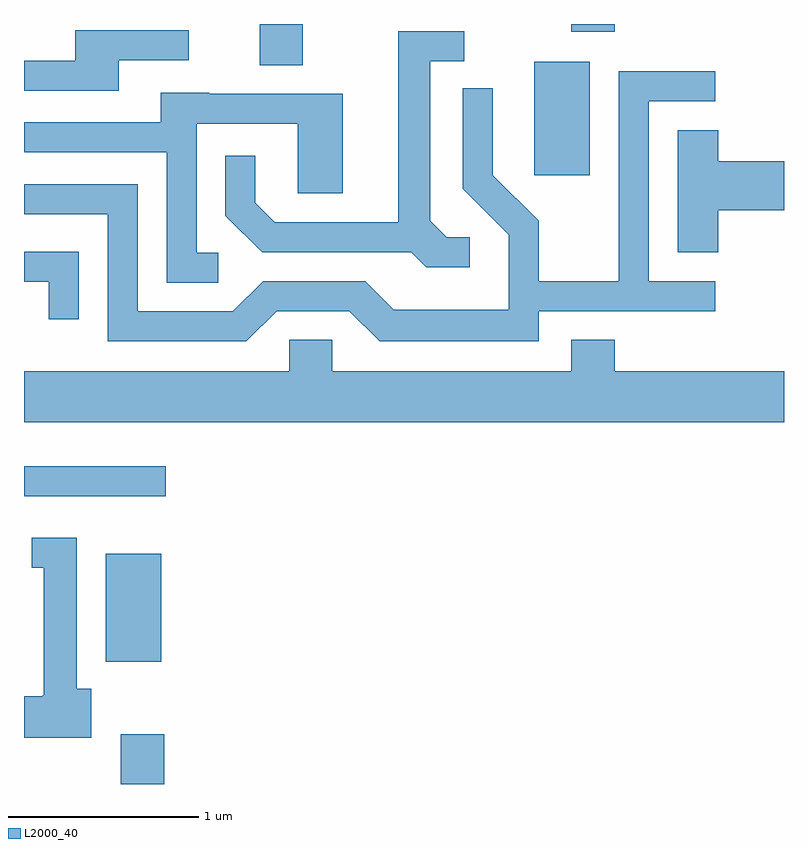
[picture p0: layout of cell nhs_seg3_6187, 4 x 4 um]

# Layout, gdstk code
import gdstk
lib = gdstk.Library(unit=1e-6, precision=1e-09)
def R(c, l, rs):  # rectangles x0, y0, x1, y1
    for r in rs: c.add(gdstk.rectangle(r[:2], r[2:], *l))
def P(c, l, *ps):  # polygons
    for p in ps: c.add(gdstk.Polygon(p, *l))
L2000_40 = (2000, 40)

nhs_seg3_6187 = lib.new_cell('nhs_seg3_6187')
R(nhs_seg3_6187, L2000_40, [(368.121,1121.892,368.349,1122.154), (368.041,1122.536,368.334,1123.104), (367.611,1123.406,368.358,1123.564), (370.296,1125.096,370.589,1125.694), (368.851,1125.676,369.079,1125.892), (370.491,1125.851,370.719,1125.892)])
P(nhs_seg3_6187, L2000_40, [(368.109,1125.701),(368.478,1125.701),(368.478,1125.859),(367.881,1125.859),(367.881,1125.699),(367.611,1125.699),(367.611,1125.541),(368.109,1125.541)],
  [(369.958,1124.769),(369.837,1124.769),(369.749,1124.857),(369.749,1125.696),(369.928,1125.696),(369.928,1125.854),(369.581,1125.854),(369.581,1124.849),(368.932,1124.849),(368.829,1124.952),(368.829,1125.198),(368.671,1125.198),(368.671,1124.884),(368.864,1124.691),(369.649,1124.691),(369.729,1124.611),(369.958,1124.611)],
  [(368.942,1124.381),(369.324,1124.381),(369.484,1124.221),(370.319,1124.221),(370.319,1124.381),(371.248,1124.381),(371.248,1124.539),(370.899,1124.539),(370.899,1125.486),(371.248,1125.486),(371.248,1125.644),(370.741,1125.644),(370.741,1124.539),(370.319,1124.539),(370.319,1124.857),(370.079,1125.097),(370.079,1125.553),(369.921,1125.553),(369.921,1125.024),(370.161,1124.784),(370.161,1124.389),(369.557,1124.389),(369.407,1124.539),(368.869,1124.539),(368.709,1124.379),(368.209,1124.379),(368.209,1125.049),(367.611,1125.049),(367.611,1124.891),(368.051,1124.891),(368.051,1124.221),(368.782,1124.221)],
  [(368.633,1124.689),(368.519,1124.689),(368.519,1125.366),(369.051,1125.366),(369.051,1125.001),(369.289,1125.001),(369.289,1125.524),(368.585,1125.524),(368.585,1125.529),(368.331,1125.529),(368.331,1125.374),(367.611,1125.374),(367.611,1125.216),(368.361,1125.216),(368.361,1124.531),(368.633,1124.531)],
  [(371.264,1124.911),(371.611,1124.911),(371.611,1125.169),(371.264,1125.169),(371.264,1125.334),(371.051,1125.334),(371.051,1124.691),(371.264,1124.691)],
  [(367.899,1124.694),(367.611,1124.694),(367.611,1124.536),(367.741,1124.536),(367.741,1124.338),(367.899,1124.338)],
  [(371.611,1124.064),(370.719,1124.064),(370.719,1124.229),(370.491,1124.229),(370.491,1124.064),(369.234,1124.064),(369.234,1124.229),(369.006,1124.229),(369.006,1124.064),(367.611,1124.064),(367.611,1123.796),(371.611,1123.796)],
  [(367.964,1122.394),(367.889,1122.394),(367.889,1123.189),(367.653,1123.189),(367.653,1123.031),(367.716,1123.031),(367.716,1122.36),(367.71,1122.36),(367.71,1122.354),(367.611,1122.354),(367.611,1122.136),(367.964,1122.136)])

lib.write_gds('nhs_seg3_6187.gds')
